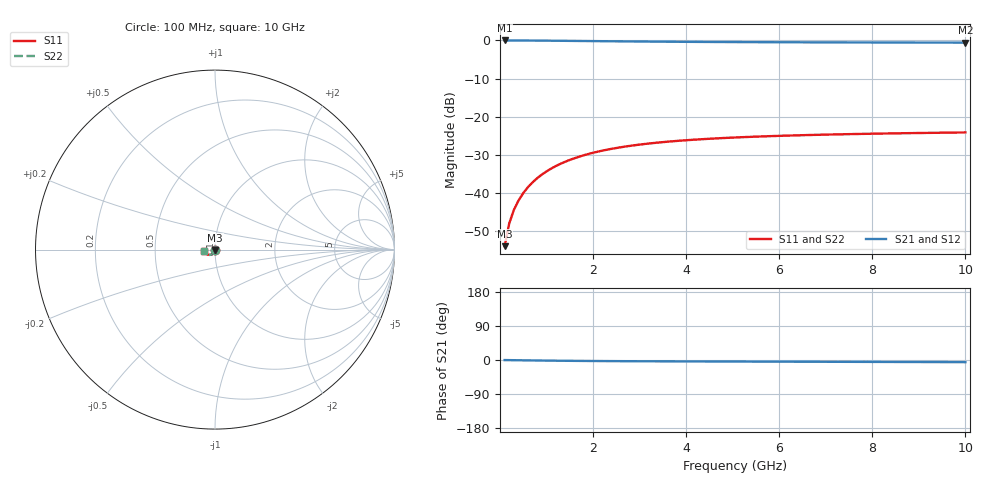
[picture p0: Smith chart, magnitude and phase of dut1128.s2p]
! Touchstone file exported from HFSS 2024.1.0
!  File:  C:/UserFiles/LocalFiles/RDL_TSV_Batchsim/temp_TSV1_1128_1780069721.aedt
!  Generated:  11:55:46 PM May 29, 2026
!  Design:  TSV1
!  Project:  temp_TSV1_1128_1780069721
!  Setup:  Setup1
!  Solution:  Sweep
! Variables:
!  dtsv = 12.61um
!  hbump = 3um
!  htsv = 89.44um
!  lrdl = 252.1521522um
!  p = 40
!  p1 = 52.94um
!  t = 500um
!  trdl = 3um
!  wrdl = 24.89489489um
# GHz S MA R 50.000000
! Terminal data exported
! Port[1] = TSV22_T1
! Port[2] = TSV22_T2
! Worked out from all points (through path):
!   100 points, 100 MHz to 10 GHz, reference 50 ohm
!   highest |S21| = 0.00 dB at 100 MHz (marker M1); lowest = -0.6 dB at 10 GHz (marker M2)
!   lowest |S11| = -53.9 dB at 100 MHz (marker M3), VSWR 1.00, Z = 50 - j0.203 ohm
!   |S11| at or under -10 dB: start of sweep to end of sweep
!   |S22| runs from -53.9 to -24.1 dB; largest |S21 - S12| = 4.7e-15
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0.1  0.002026 -89.2  0.9998 -0.2  0.9998 -0.2  0.002026 -89.2
! Gamma 0 0 0 0
! Port Impedance 50 0 50 0
0.2  0.004046 -92.5  0.9996 -0.3  0.9996 -0.3  0.004046 -92.5
0.3  0.006058 -94.9  0.9992 -0.5  0.9992 -0.5  0.006058 -94.9
0.4  0.008055 -97.1  0.9987 -0.7  0.9987 -0.7  0.008055 -97.1
0.5  0.01003 -99.2  0.9981 -0.8  0.9981 -0.8  0.01003 -99.2
0.6  0.01197 -101.3  0.9974 -1.0  0.9974 -1.0  0.01197 -101.3
0.7  0.01387 -103.3  0.9965 -1.1  0.9965 -1.1  0.01387 -103.3
0.8  0.01573 -105.3  0.9956 -1.3  0.9956 -1.3  0.01573 -105.3
0.9  0.01754 -107.2  0.9946 -1.4  0.9946 -1.4  0.01754 -107.2
1.1  0.02101 -110.9  0.9923 -1.7  0.9923 -1.7  0.02101 -110.9
1.4  0.02579 -116.1  0.9886 -2.1  0.9886 -2.1  0.02579 -116.1
1.6  0.0287 -119.3  0.9859 -2.3  0.9859 -2.3  0.0287 -119.3
1.8  0.03137 -122.4  0.9832 -2.5  0.9832 -2.5  0.03137 -122.4
2.1  0.03497 -126.7  0.9793 -2.7  0.9793 -2.7  0.03497 -126.7
2.5  0.03908 -131.8  0.9742 -3.0  0.9742 -3.0  0.03908 -131.8
2.9  0.04251 -136.3  0.9696 -3.2  0.9696 -3.2  0.04251 -136.3
3.4  0.04603 -141.2  0.9644 -3.5  0.9644 -3.5  0.04603 -141.2
4.2  0.05032 -147.8  0.9577 -3.8  0.9577 -3.8  0.05032 -147.8
5.1  0.0538 -153.8  0.9519 -4.1  0.9519 -4.1  0.0538 -153.8
6.7  0.0579 -162.1  0.9448 -4.6  0.9448 -4.6  0.0579 -162.1
8.4  0.06065 -168.8  0.94 -5.2  0.94 -5.2  0.06065 -168.8
10  0.06244 -174.0  0.9369 -5.7  0.9369 -5.7  0.06244 -174.0
